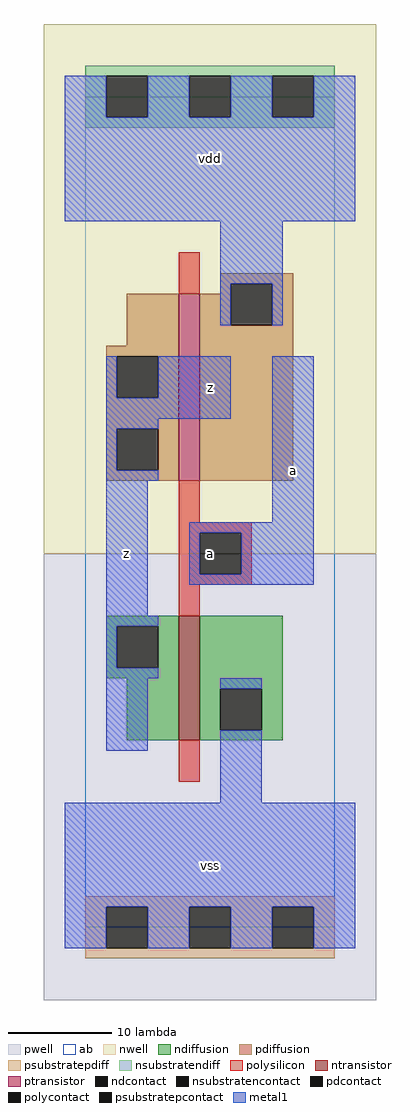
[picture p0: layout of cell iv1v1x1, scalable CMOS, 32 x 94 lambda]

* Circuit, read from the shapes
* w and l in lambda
.subckt iv1v1x1 a vdd vss z
M1 vss a z vss nfet w=12 l=2
M2 vdd a z vdd pfet w=18 l=2
.ends

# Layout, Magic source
magic
tech scmos
<< ab >>
rect 0 0 24 80
<< pwell >>
rect -4 -7 28 36
<< nwell >>
rect -4 36 28 87
<< polysilicon >>
rect 9 61 11 65
rect 9 39 11 43
rect 9 38 16 39
rect 9 34 11 38
rect 15 34 16 38
rect 9 33 16 34
rect 9 30 11 33
rect 9 14 11 18
<< ndiffusion >>
rect 2 29 9 30
rect 2 25 3 29
rect 7 25 9 29
rect 2 24 9 25
rect 4 18 9 24
rect 11 23 19 30
rect 11 19 13 23
rect 17 19 19 23
rect 11 18 19 19
<< pdiffusion >>
rect 13 62 20 63
rect 13 61 14 62
rect 4 56 9 61
rect 2 55 9 56
rect 2 51 3 55
rect 7 51 9 55
rect 2 48 9 51
rect 2 44 3 48
rect 7 44 9 48
rect 2 43 9 44
rect 11 58 14 61
rect 18 58 20 62
rect 11 43 20 58
<< metal1 >>
rect -2 78 2 82
rect 6 78 10 82
rect 14 78 18 82
rect 22 78 26 82
rect -2 68 26 78
rect 13 62 19 68
rect 13 58 14 62
rect 18 58 19 62
rect 2 51 3 55
rect 7 51 14 55
rect 2 49 14 51
rect 2 48 7 49
rect 2 44 3 48
rect 2 43 7 44
rect 2 30 6 43
rect 18 39 22 55
rect 10 38 22 39
rect 10 34 11 38
rect 15 34 22 38
rect 10 33 22 34
rect 2 29 7 30
rect 2 25 3 29
rect 2 24 7 25
rect 2 17 6 24
rect 13 23 17 24
rect 13 12 17 19
rect -2 2 26 12
rect -2 -2 2 2
rect 6 -2 10 2
rect 14 -2 18 2
rect 22 -2 26 2
<< ntransistor >>
rect 9 18 11 30
<< ptransistor >>
rect 9 43 11 61
<< polycontact >>
rect 11 34 15 38
<< ndcontact >>
rect 3 25 7 29
rect 13 19 17 23
<< pdcontact >>
rect 3 51 7 55
rect 3 44 7 48
rect 14 58 18 62
<< psubstratepcontact >>
rect 2 -2 6 2
rect 10 -2 14 2
rect 18 -2 22 2
<< nsubstratencontact >>
rect 2 78 6 82
rect 10 78 14 82
rect 18 78 22 82
<< psubstratepdiff >>
rect 0 2 24 3
rect 0 -2 2 2
rect 6 -2 10 2
rect 14 -2 18 2
rect 22 -2 24 2
rect 0 -3 24 -2
<< nsubstratendiff >>
rect 0 82 24 83
rect 0 78 2 82
rect 6 78 10 82
rect 14 78 18 82
rect 22 78 24 82
rect 0 77 24 78
<< labels >>
rlabel metal1 4 36 4 36 6 z
rlabel metal1 12 6 12 6 6 vss
rlabel polycontact 12 36 12 36 6 a
rlabel metal1 12 52 12 52 6 z
rlabel metal1 12 74 12 74 6 vdd
rlabel metal1 20 44 20 44 6 a
<< end >>
